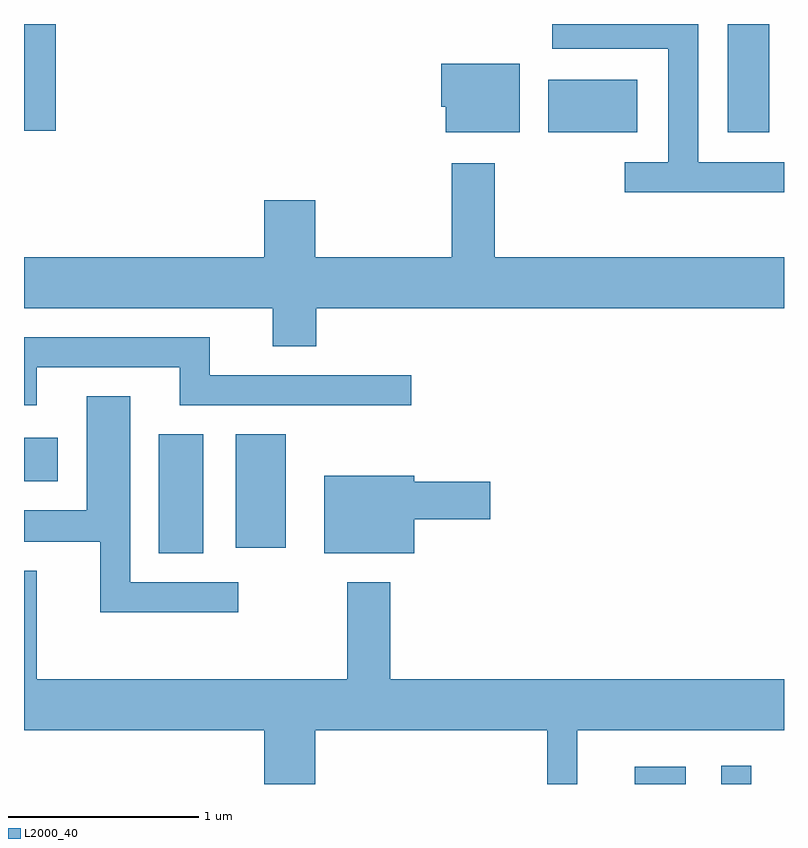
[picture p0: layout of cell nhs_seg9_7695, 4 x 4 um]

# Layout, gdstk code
import gdstk
lib = gdstk.Library(unit=1e-6, precision=1e-09)
def R(c, l, rs):  # rectangles x0, y0, x1, y1
    for r in rs: c.add(gdstk.rectangle(r[:2], r[2:], *l))
def P(c, l, *ps):  # polygons
    for p in ps: c.add(gdstk.Polygon(p, *l))
L2000_40 = (2000, 40)

nhs_seg9_7695 = lib.new_cell('nhs_seg9_7695')
R(nhs_seg9_7695, L2000_40, [(416.826,1980.432,417.094,1980.524), (417.281,1980.432,417.439,1980.528), (414.321,1981.646,414.554,1982.274), (414.726,1981.676,414.989,1982.274), (413.611,1982.026,413.789,1982.254), (416.371,1983.861,416.839,1984.139), (417.316,1983.861,417.534,1984.432), (413.611,1983.871,413.779,1984.432)])
P(nhs_seg9_7695, L2000_40, [(417.611,1983.704),(417.159,1983.704),(417.159,1984.432),(416.391,1984.432),(416.391,1984.301),(417.001,1984.301),(417.001,1983.704),(416.773,1983.704),(416.773,1983.546),(417.611,1983.546)],
  [(416.219,1984.224),(415.806,1984.224),(415.806,1983.996),(415.831,1983.996),(415.831,1983.861),(416.219,1983.861)],
  [(415.149,1982.936),(417.611,1982.936),(417.611,1983.204),(416.089,1983.204),(416.089,1983.699),(415.861,1983.699),(415.861,1983.204),(415.144,1983.204),(415.144,1983.504),(414.876,1983.504),(414.876,1983.204),(413.611,1983.204),(413.611,1982.936),(414.921,1982.936),(414.921,1982.736),(415.149,1982.736)],
  [(413.679,1982.626),(414.431,1982.626),(414.431,1982.426),(415.648,1982.426),(415.648,1982.584),(414.589,1982.584),(414.589,1982.784),(413.611,1982.784),(413.611,1982.426),(413.679,1982.426)],
  [(414.738,1981.494),(414.169,1981.494),(414.169,1982.474),(413.941,1982.474),(413.941,1981.874),(413.611,1981.874),(413.611,1981.706),(414.011,1981.706),(414.011,1981.336),(414.738,1981.336)],
  [(415.664,1981.826),(416.064,1981.826),(416.064,1982.024),(415.664,1982.024),(415.664,1982.054),(415.191,1982.054),(415.191,1981.646),(415.664,1981.646)],
  [(415.144,1980.716),(416.366,1980.716),(416.366,1980.432),(416.524,1980.432),(416.524,1980.716),(417.611,1980.716),(417.611,1980.984),(415.539,1980.984),(415.539,1981.494),(415.311,1981.494),(415.311,1980.984),(413.679,1980.984),(413.679,1981.554),(413.611,1981.554),(413.611,1980.716),(414.876,1980.716),(414.876,1980.432),(415.144,1980.432)])

lib.write_gds('nhs_seg9_7695.gds')
